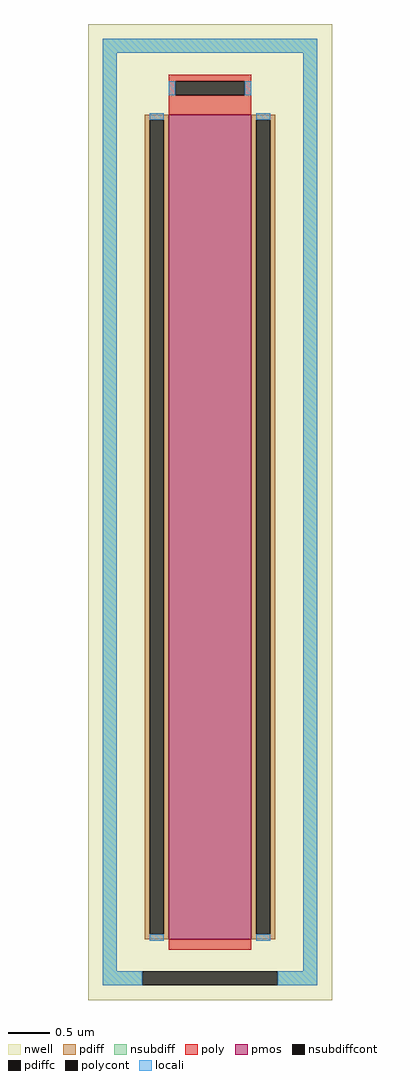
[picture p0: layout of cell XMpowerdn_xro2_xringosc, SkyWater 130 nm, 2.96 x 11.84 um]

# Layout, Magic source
magic
tech sky130A
magscale 1 2
<< nwell >>
rect -296 -1184 296 1184
<< pmos >>
rect -100 -1036 100 964
<< pdiff >>
rect -158 952 -100 964
rect -158 -1024 -146 952
rect -112 -1024 -100 952
rect -158 -1036 -100 -1024
rect 100 952 158 964
rect 100 -1024 112 952
rect 146 -1024 158 952
rect 100 -1036 158 -1024
<< pdiffc >>
rect -146 -1024 -112 952
rect 112 -1024 146 952
<< nsubdiff >>
rect -260 1114 260 1148
rect -260 -1114 -226 1114
rect 226 -1114 260 1114
rect -260 -1148 -164 -1114
rect 164 -1148 260 -1114
<< nsubdiffcont >>
rect -164 -1148 164 -1114
<< poly >>
rect -100 1045 100 1061
rect -100 1011 -84 1045
rect 84 1011 100 1045
rect -100 964 100 1011
rect -100 -1062 100 -1036
<< polycont >>
rect -84 1011 84 1045
<< locali >>
rect -260 1114 260 1148
rect -260 -1114 -226 1114
rect -100 1011 -84 1045
rect 84 1011 100 1045
rect -146 952 -112 968
rect -146 -1040 -112 -1024
rect 112 952 146 968
rect 112 -1040 146 -1024
rect 226 -1114 260 1114
rect -260 -1148 -164 -1114
rect 164 -1148 260 -1114
<< properties >>
string FIXED_BBOX -243 -1131 243 1131
<< end >>
